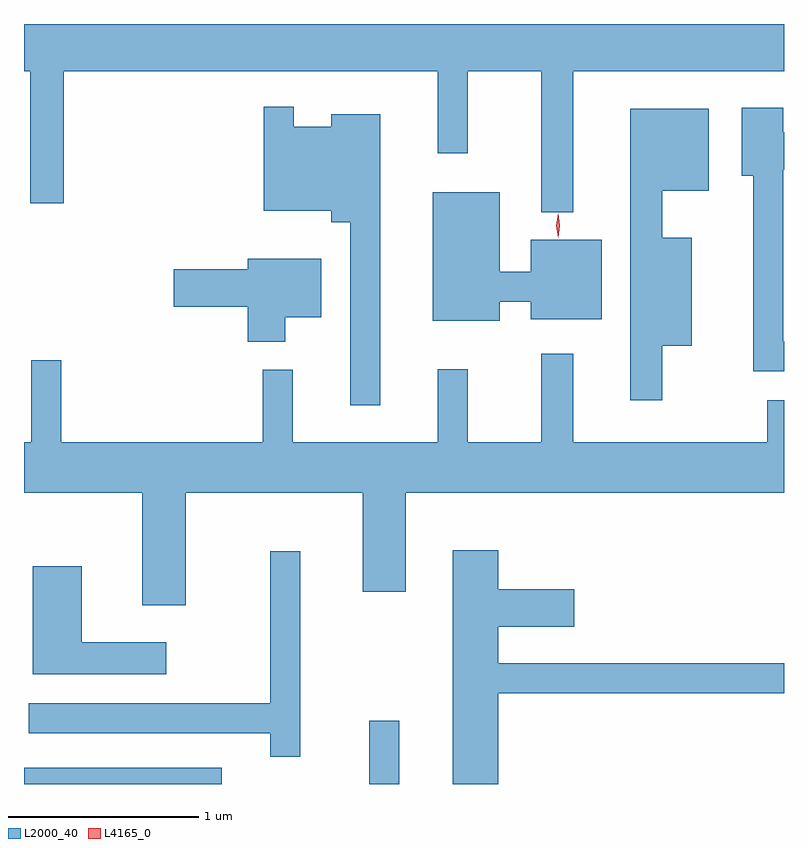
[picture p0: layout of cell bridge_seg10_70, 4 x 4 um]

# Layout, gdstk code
import gdstk
lib = gdstk.Library(unit=1e-6, precision=1e-09)
def R(c, l, rs):  # rectangles x0, y0, x1, y1
    for r in rs: c.add(gdstk.rectangle(r[:2], r[2:], *l))
def P(c, l, *ps):  # polygons
    for p in ps: c.add(gdstk.Polygon(p, *l))
L2000_40 = (2000, 40)
L4165_0 = (4165, 0)

bridge_seg10_70 = lib.new_cell('bridge_seg10_70')
R(bridge_seg10_70, L2000_40, [(1520.579,2203.404,1521.619,2203.489), (1522.396,2203.404,1522.554,2203.738)])
P(bridge_seg10_70, L2000_40, [(1520.579,2207.156),(1520.611,2207.156),(1520.611,2206.461),(1520.789,2206.461),(1520.789,2207.156),(1522.756,2207.156),(1522.756,2206.723),(1522.914,2206.723),(1522.914,2207.156),(1523.301,2207.156),(1523.301,2206.413),(1523.469,2206.413),(1523.469,2207.156),(1524.579,2207.156),(1524.579,2207.404),(1520.579,2207.404)],
  [(1522.454,2206.929),(1522.196,2206.929),(1522.196,2206.864),(1521.999,2206.864),(1521.999,2206.968),(1521.841,2206.968),(1521.841,2206.421),(1522.196,2206.421),(1522.196,2206.361),(1522.296,2206.361),(1522.296,2205.398),(1522.454,2205.398)],
  [(1524.579,2205.734),(1524.574,2205.734),(1524.574,2206.636),(1524.579,2206.636),(1524.579,2206.834),(1524.574,2206.834),(1524.574,2206.964),(1524.356,2206.964),(1524.356,2206.606),(1524.416,2206.606),(1524.416,2205.576),(1524.579,2205.576)],
  [(1523.939,2205.711),(1524.094,2205.711),(1524.094,2206.279),(1523.939,2206.279),(1523.939,2206.526),(1524.184,2206.526),(1524.184,2206.959),(1523.771,2206.959),(1523.771,2205.423),(1523.939,2205.423)],
  [(1523.084,2205.941),(1523.246,2205.941),(1523.246,2205.851),(1523.619,2205.851),(1523.619,2206.269),(1523.246,2206.269),(1523.246,2206.099),(1523.084,2206.099),(1523.084,2206.519),(1522.731,2206.519),(1522.731,2205.841),(1523.084,2205.841)],
  [(1521.954,2205.861),(1522.144,2205.861),(1522.144,2206.169),(1521.756,2206.169),(1521.756,2206.114),(1521.366,2206.114),(1521.366,2205.916),(1521.756,2205.916),(1521.756,2205.731),(1521.954,2205.731)],
  [(1521.429,2204.936),(1522.361,2204.936),(1522.361,2204.416),(1522.589,2204.416),(1522.589,2204.936),(1524.579,2204.936),(1524.579,2205.424),(1524.491,2205.424),(1524.491,2205.204),(1523.469,2205.204),(1523.469,2205.668),(1523.301,2205.668),(1523.301,2205.204),(1522.914,2205.204),(1522.914,2205.588),(1522.756,2205.588),(1522.756,2205.204),(1521.994,2205.204),(1521.994,2205.583),(1521.836,2205.583),(1521.836,2205.204),(1520.774,2205.204),(1520.774,2205.633),(1520.616,2205.633),(1520.616,2205.204),(1520.579,2205.204),(1520.579,2204.936),(1521.201,2204.936),(1521.201,2204.346),(1521.429,2204.346)],
  [(1523.074,2203.881),(1524.579,2203.881),(1524.579,2204.039),(1523.074,2204.039),(1523.074,2204.231),(1523.474,2204.231),(1523.474,2204.429),(1523.074,2204.429),(1523.074,2204.634),(1522.836,2204.634),(1522.836,2203.404),(1523.074,2203.404)],
  [(1522.034,2204.628),(1521.876,2204.628),(1521.876,2203.829),(1520.603,2203.829),(1520.603,2203.671),(1521.876,2203.671),(1521.876,2203.548),(1522.034,2203.548)],
  [(1521.328,2204.149),(1520.884,2204.149),(1520.884,2204.549),(1520.626,2204.549),(1520.626,2203.981),(1521.328,2203.981)])
P(bridge_seg10_70, L4165_0, [(1523.39,2206.279),(1523.381,2206.343),(1523.39,2206.407),(1523.39,2206.408),(1523.391,2206.407),(1523.4,2206.343),(1523.391,2206.279),(1523.391,2206.279)])

lib.write_gds('bridge_seg10_70.gds')
